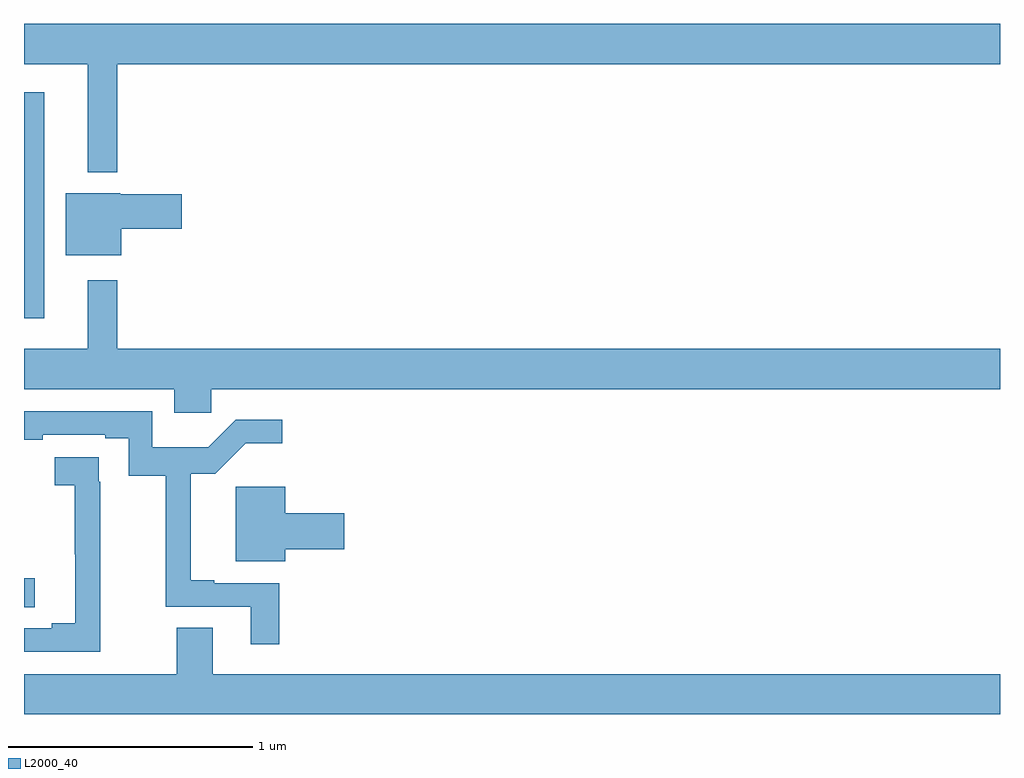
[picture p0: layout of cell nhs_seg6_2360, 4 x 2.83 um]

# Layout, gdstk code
import gdstk
lib = gdstk.Library(unit=1e-6, precision=1e-09)
def R(c, l, rs):  # rectangles x0, y0, x1, y1
    for r in rs: c.add(gdstk.rectangle(r[:2], r[2:], *l))
def P(c, l, *ps):  # polygons
    for p in ps: c.add(gdstk.Polygon(p, *l))
L2000_40 = (2000, 40)

nhs_seg6_2360 = lib.new_cell('nhs_seg6_2360')
R(nhs_seg6_2360, L2000_40, [(251,989.065,251.044,989.185), (251,990.249,251.083,991.177)])
P(nhs_seg6_2360, L2000_40, [(251.383,991.292),(255,991.292),(255,991.456),(251,991.456),(251,991.292),(251.261,991.292),(251.261,990.848),(251.383,990.848)],
  [(251.398,990.616),(251.647,990.616),(251.647,990.758),(251.394,990.758),(251.394,990.763),(251.171,990.763),(251.171,990.509),(251.398,990.509)],
  [(251.767,989.96),(255,989.96),(255,990.124),(251.383,990.124),(251.383,990.406),(251.261,990.406),(251.261,990.124),(251,990.124),(251,989.96),(251.615,989.96),(251.615,989.862),(251.767,989.862)],
  [(252.047,989.163),(251.779,989.163),(251.779,989.176),(251.684,989.176),(251.684,989.613),(251.783,989.613),(251.909,989.738),(252.058,989.738),(252.058,989.835),(251.868,989.835),(251.755,989.722),(251.526,989.722),(251.526,989.868),(251,989.868),(251,989.752),(251.077,989.752),(251.077,989.772),(251.333,989.772),(251.333,989.758),(251.43,989.758),(251.43,989.605),(251.581,989.605),(251.581,989.067),(251.93,989.067),(251.93,988.914),(252.047,988.914)],
  [(251.312,989.579),(251.306,989.579),(251.306,989.681),(251.127,989.681),(251.127,989.566),(251.209,989.566),(251.209,989.283),(251.21,989.283),(251.21,989),(251.114,989),(251.114,988.98),(251,988.98),(251,988.884),(251.312,988.884)],
  [(252.07,989.303),(252.313,989.303),(252.313,989.45),(252.07,989.45),(252.07,989.56),(251.867,989.56),(251.867,989.255),(252.07,989.255)],
  [(255,988.792),(251.773,988.792),(251.773,988.982),(251.626,988.982),(251.626,988.792),(251,988.792),(251,988.628),(255,988.628)])

lib.write_gds('nhs_seg6_2360.gds')
